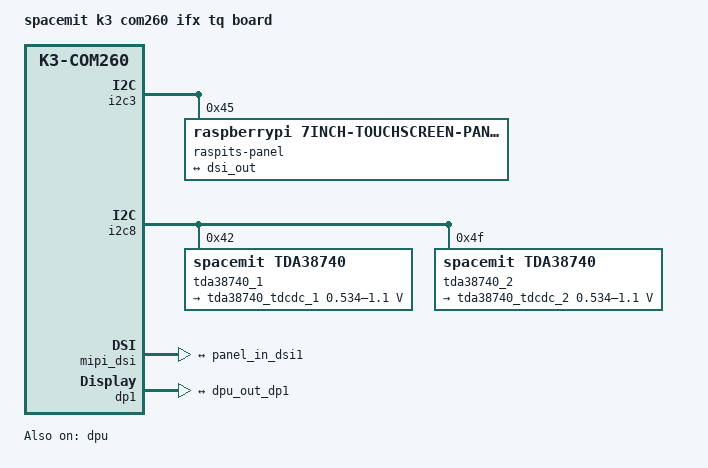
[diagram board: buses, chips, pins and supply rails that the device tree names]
// SPDX-License-Identifier: GPL-2.0
/*
 * k3 com260 tq board device tree (U-Boot).
 *
 * Copyright (C) 2025 SPACEMIT Micro Limited
 */

#include "k3_com260.dtsi"

/ {
	model = "spacemit k3 com260 ifx tq board";
};

&i2c3 {
	status = "okay";
	pinctrl-names = "default";
	pinctrl-0 = <&pinctrl_i2c3_1>;

	raspits-panel@45 {
		compatible = "raspberrypi,7inch-touchscreen-panel";
		reg = <0x45>;
		status = "okay";

		port {
			panel_in_dsi1: endpoint {
				remote-endpoint = <&dsi_out>;
			};
		};
	};
};

&i2c8 {
	tda38740_1: tda38740@42 {
		compatible = "spacemit,tda38740";
		reg = <0x42>;
		bus = <8>;
		u-boot,dm-spl;

		regulators {
			u-boot,dm-spl;

			tda38740_tdcdc_1: TDCDC_REG1 {
				regulator-name = "tdcdc1";
				regulator-min-microvolt = <534000>;
				regulator-max-microvolt = <1100000>;
				regulator-boot-on;
				u-boot,dm-spl;
				regulator-state-mem {
					regulator-off-in-suspend;
				};
			};
		};
	};

	tda38740_2: tda38740@4f {
		compatible = "spacemit,tda38740";
		reg = <0x4f>;
		bus = <8>;
		u-boot,dm-spl;

		regulators {
			u-boot,dm-spl;

			tda38740_tdcdc_2: TDCDC_REG2 {
				regulator-name = "tdcdc2";
				regulator-min-microvolt = <534000>;
				regulator-max-microvolt = <1100000>;
				regulator-boot-on;
				u-boot,dm-spl;
				regulator-state-mem {
					regulator-off-in-suspend;
				};
			};
		};
	};
};

&pcie4_rc {
	status = "disabled";
};

&dpu {
	status = "okay";

	dpu_out: port {
		#address-cells = <1>;
		#size-cells = <0>;

		dpu_out_dp1: endpoint@1 {
			reg = <1>;
			remote-endpoint = <&dp1_in_dpu>;
		};
	};

};

&mipi_dsi {
	bit-clk = <700000000>;
	pix-clk = <24000000>;
	status = "okay";

	ports {
		mipi_in: port {
			#address-cells = <1>;
			#size-cells = <0>;
			dsi_out: endpoint@1 {
				reg = <1>;
				remote-endpoint = <&panel_in_dsi1>;
			};
		};
	};
};

&panel {
	force-attached = "lcd_tc358762xbg_dpi_800x480";
	status = "okay";
};

&dp1 {
	pinctrl-names = "default";
	pinctrl-0 = <&pinctrl_dp1_3>;
	status = "okay";

	ports {
		dp1_in: port {
			#address-cells = <1>;
			#size-cells = <0>;
			dp1_in_dpu: endpoint@0 {
				reg = <0>;
				remote-endpoint = <&dpu_out_dp1>;
			};
		};
	};
};
